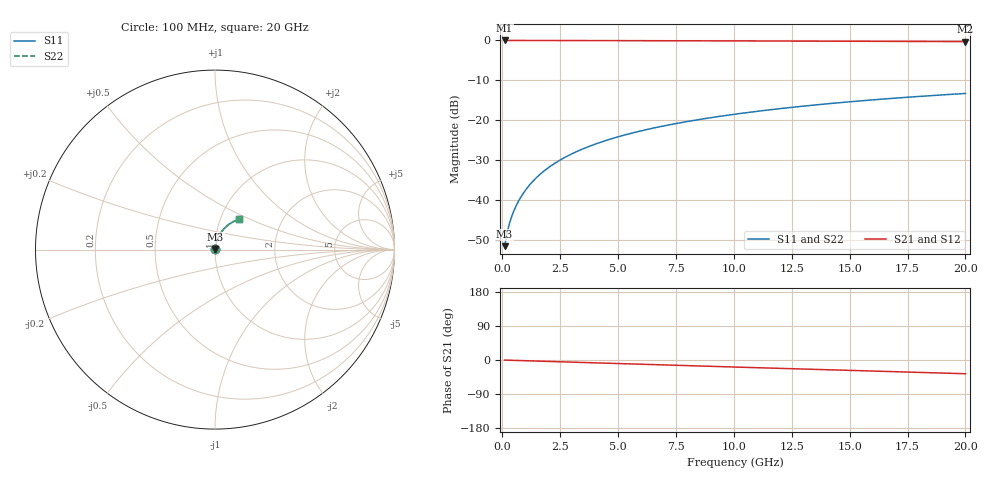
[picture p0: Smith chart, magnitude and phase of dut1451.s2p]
! Touchstone file exported from HFSS 2026.1.0
!  File:  C:/ffzhzh/LocalFiles/Ansys_Project_Files/temp_train_TMRDL_1451_1783167201_51560.aedt
!  Generated:  08:14:34 PM Jul  4, 2026
!  Design:  TMRDL
!  Project:  temp_train_TMRDL_1451_1783167201_51560
! Variables:
!  h_bsmrdl = 2um
!  h_ox = 20um
!  h_rdl = 5um
!  h_sub = 80um
!  h_tmrdl = 3.83um
!  h_tsv = 80um
!  h_via = 3um
!  l_bsmrdl = 300um
!  l_sub = 982.48um
!  l_tmrdl = 582.48um
!  m_sub = 200um
!  pitch = 43.52um
!  r_tsv = 6um
!  s_tmrdl = 10um
!  w_bsmrdl = 18um
!  w_sub = 500um
!  w_tmrdl = 28.8um
!  x_tsv_center1 = 596.88um
!  x_tsv_center2 = 914.88um
!  x_tsv_center3 = 1526.16um
!  x_tsv_center4 = 1844.16um
!  x_tsv_center5 = 2455.44um
!  x_tsv_center6 = 2773.44um
# GHz S MA R 50.000000
! Terminal data exported
! Port[1] = TM_RDL1_1_T1
! Port[2] = TM_RDL1_1_T2
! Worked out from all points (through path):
!   200 points, 100 MHz to 20 GHz, reference 50 ohm
!   highest |S21| = -0.02 dB at 100 MHz (marker M1); lowest = -0.3 dB at 20 GHz (marker M2)
!   group delay of S21, straight-line fit = 5.02 ps
!   lowest |S11| = -51.5 dB at 100 MHz (marker M3), VSWR 1.01, Z = 50.2 + j0.157 ohm
!   |S11| at or under -10 dB: start of sweep to end of sweep
!   |S22| runs from -51.5 to -13.3 dB; largest |S21 - S12| = 2.1e-15
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0.1  0.002665 36.0  0.9978 -0.2  0.9978 -0.2  0.002665 36.0
! Gamma 0 0 0 0
! Port Impedance 50 0 50 0
0.2  0.003826 51.5  0.9976 -0.4  0.9976 -0.4  0.003826 51.5
0.3  0.005026 58.8  0.9974 -0.6  0.9974 -0.6  0.005026 58.8
0.4  0.006202 63.3  0.9973 -0.8  0.9973 -0.8  0.006202 63.3
0.5  0.007371 66.6  0.9972 -1.0  0.9972 -1.0  0.007371 66.6
0.6  0.008546 69.0  0.9971 -1.2  0.9971 -1.2  0.008546 69.0
0.8  0.01093 72.5  0.997 -1.5  0.997 -1.5  0.01093 72.5
1.1  0.01457 75.5  0.9968 -2.1  0.9968 -2.1  0.01457 75.5
1.3  0.01703 76.7  0.9967 -2.5  0.9967 -2.5  0.01703 76.7
1.6  0.02074 77.8  0.9965 -3.0  0.9965 -3.0  0.02074 77.8
2.1  0.02693 78.6  0.9962 -4.0  0.9962 -4.0  0.02693 78.6
2.7  0.03435 78.6  0.9957 -5.1  0.9957 -5.1  0.03435 78.6
3.5  0.04416 77.9  0.9948 -6.6  0.9948 -6.6  0.04416 77.9
4.2  0.05264 77.1  0.994 -7.9  0.994 -7.9  0.05264 77.1
5  0.06219 75.9  0.993 -9.4  0.993 -9.4  0.06219 75.9
5.9  0.07277 74.5  0.9917 -11.0  0.9917 -11.0  0.07277 74.5
6.8  0.08317 73.1  0.9904 -12.7  0.9904 -12.7  0.08316 73.0
8.3  0.1001 70.6  0.988 -15.4  0.988 -15.4  0.1001 70.6
10.1  0.1199 67.6  0.985 -18.7  0.985 -18.7  0.1199 67.6
13.4  0.1545 62.1  0.979 -24.6  0.979 -24.6  0.1545 62.1
16.7  0.1869 56.5  0.9724 -30.5  0.9724 -30.5  0.1869 56.5
20  0.2168 51.0  0.9655 -36.2  0.9655 -36.2  0.2168 51.0
